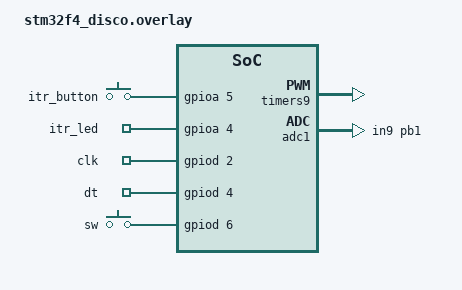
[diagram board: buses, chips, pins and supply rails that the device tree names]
/ {
    
    interrupts {
        compatible = "gpio-keys";
        itr_button: pd0 {
			gpios = <&gpioa 5 GPIO_ACTIVE_HIGH>;
		};
        itr_led: pb7 {
			gpios = <&gpioa 4 GPIO_ACTIVE_HIGH>;
		};
    };


    stepper {
        compatible = "gpio-keys";
        clk: pd2 {
            gpios = <&gpiod 2 GPIO_ACTIVE_HIGH>;
        };
        dt: pd4 {
            gpios = <&gpiod 4 GPIO_ACTIVE_HIGH>;
        };
        sw: pd6 {
            gpios = <&gpiod 6 GPIO_ACTIVE_HIGH>;
        };
    };

    
};

&timers9 {
    status = "okay";
    st,prescaler = <40000>;
    led_pwm: pwm {
        status = "okay";
        pinctrl-0 = <&tim9_ch1_pe5>;
        pinctrl-names = "default";
    };
};

poti: &adc1 {
    status = "okay";
    pinctrl-0 = <&adc1_in9_pb1>;
    pinctrl-names = "default";
};



